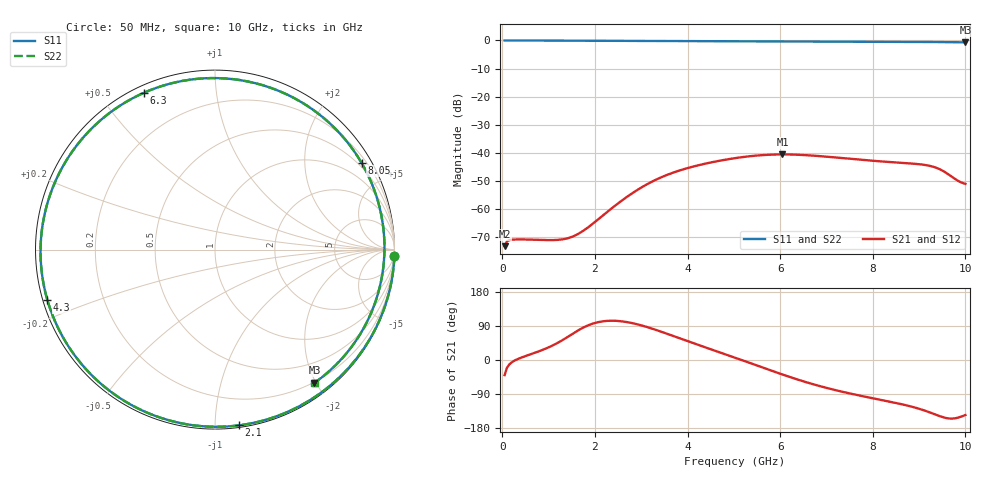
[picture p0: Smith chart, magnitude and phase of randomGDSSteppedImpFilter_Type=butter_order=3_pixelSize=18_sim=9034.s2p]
! freq	dB(S11)	phase(S11)	dB(S12)	phase(S12)
!  dB(S21)	phase(S21)	dB(S22)	phase(S22)
!S-par simulation data
#  GHz  S  DB  R 50
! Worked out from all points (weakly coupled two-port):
!   200 points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, 50 MHz to 10 GHz, reference 50 ohm
!   highest |S21| = -40.55 dB at 6.05 GHz (marker M1); lowest = -73.2 dB at 50 MHz (marker M2)
!   lowest |S11| = -0.7 dB at 10 GHz (marker M3), VSWR 26.05, Z = 9.5 - j99 ohm
!   |S11| at or under -10 dB: nowhere
!   |S22| runs from -0.7 to 0.0 dB; largest |S21 - S12| = 0
!   S11 on the Smith chart (normalised r, x): 50 MHz: 0, -57; 2.1 GHz: 0.01, -1.15; 4.3 GHz: 0.01, -0.15; 6.3 GHz: 0.03, +0.64; 8.05 GHz: 0.37, +3.61; 10 GHz: 0.19, -1.98
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0.05  -0.00 -2.0  -73.19 -40.0  -73.19 -40.0  -0.00 -2.0
0.1  -0.00 -4.1  -71.45 -20.8  -71.45 -20.8  -0.00 -4.1
0.2  -0.00 -8.1  -70.90 -6.5  -70.90 -6.5  -0.00 -8.1
0.8  -0.04 -32.1  -70.95 23.4  -70.95 23.4  -0.04 -32.1
1.35  -0.07 -53.7  -70.61 56.2  -70.61 56.2  -0.07 -53.7
1.75  -0.09 -69.0  -67.69 85.6  -67.69 85.6  -0.09 -69.0
2.1  -0.10 -82.2  -63.25 100.7  -63.25 100.7  -0.10 -82.2
2.75  -0.13 -106.3  -54.98 98.8  -54.98 98.8  -0.13 -106.3
3.4  -0.16 -130.1  -48.92 76.0  -48.92 76.0  -0.16 -130.0
4.3  -0.22 -163.2  -44.14 36.9  -44.14 36.9  -0.22 -163.2
5.05  -0.27 167.8  -41.81 5.1  -41.81 5.1  -0.27 167.8
5.55  -0.31 147.3  -40.87 -16.7  -40.87 -16.7  -0.31 147.4
6.05  -0.34 125.8  -40.55 -38.3  -40.55 -38.3  -0.34 125.8
6.3  -0.36 114.5  -40.61 -48.5  -40.61 -48.5  -0.36 114.5
6.7  -0.39 95.9  -40.96 -63.5  -40.96 -63.5  -0.39 96.0
7.35  -0.42 64.6  -41.86 -84.0  -41.86 -84.0  -0.42 64.7
8.05  -0.46 30.6  -42.86 -102.1  -42.86 -102.1  -0.46 30.7
8.35  -0.47 16.4  -43.23 -109.5  -43.23 -109.5  -0.47 16.4
8.7  -0.50 0.3  -43.62 -118.9  -43.62 -118.9  -0.50 0.3
9.1  -0.54 -17.3  -44.23 -132.6  -44.23 -132.6  -0.54 -17.2
9.45  -0.58 -31.9  -45.85 -148.4  -45.85 -148.4  -0.58 -31.8
10  -0.67 -53.3  -51.02 -145.2  -51.02 -145.2  -0.67 -53.2
